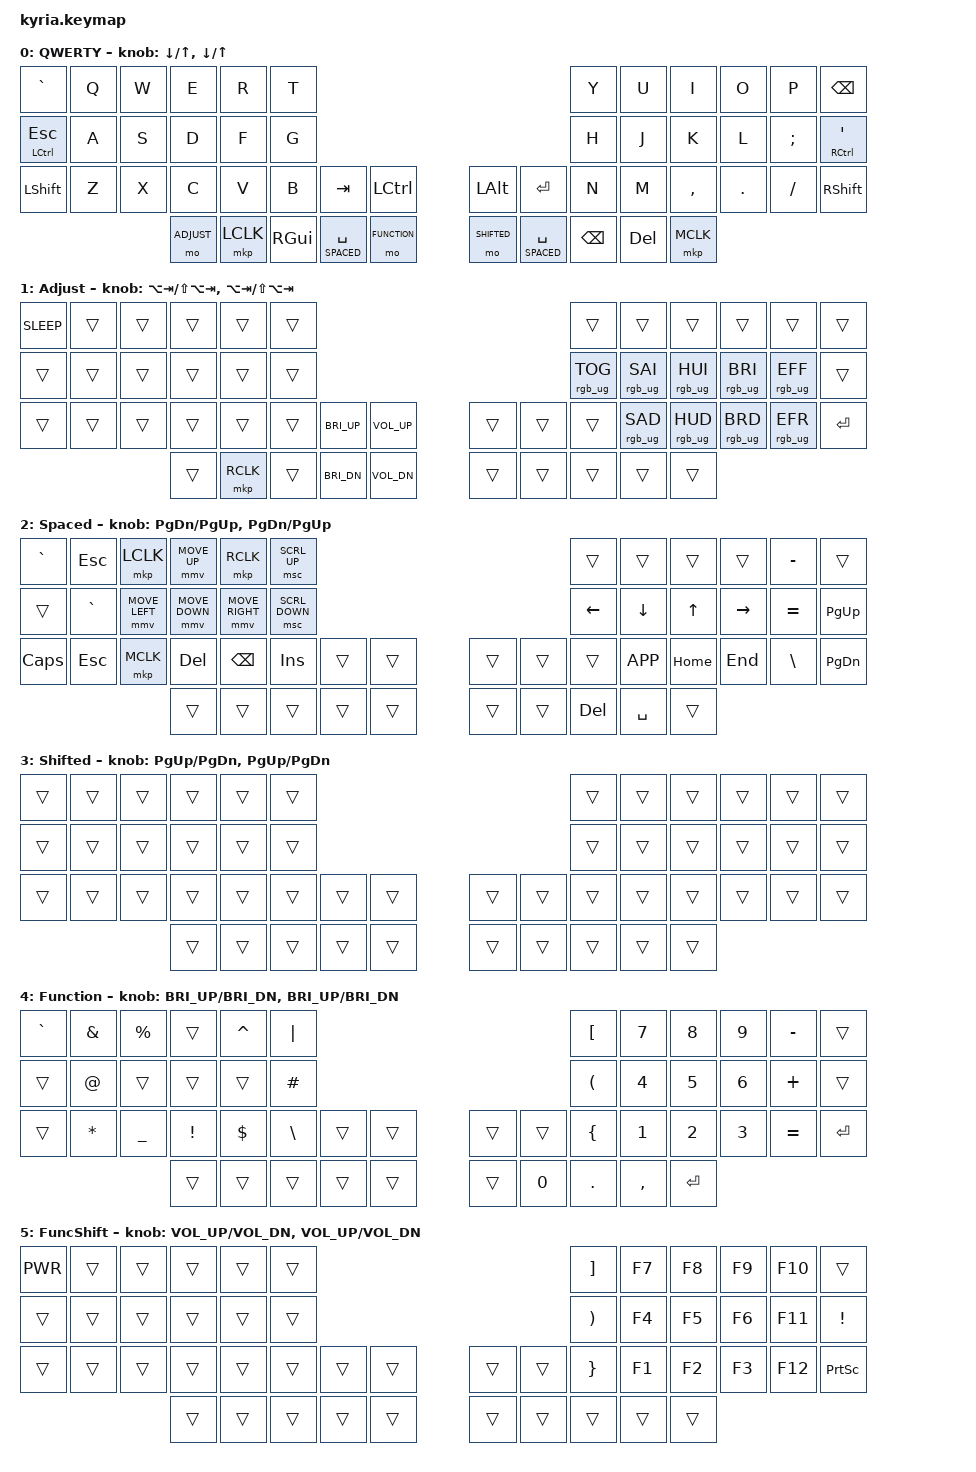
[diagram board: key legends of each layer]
/*
 * ZMK keymap converted from QMK (SplitKB Kyria)
 * Original QMK keymap (c) 2019 Thomas Baart, 2021 the1fof@gmail.com
 *
 * Layer order is preserved from the QMK enum:
 *   0 QWERTY | 1 ADJUST | 2 SPACED | 3 SHIFTED | 4 FUNCTION | 5 FUNCSHIFT
 *
 * Kyria key positions (for reference):
 *   ╭────────────────────────╮                 ╭────────────────────────╮
 *   │  0   1   2   3   4   5 │                 │  6   7   8   9  10  11 │
 *   │ 12  13  14  15  16  17 ╰───────╮ ╭───────╯ 18  19  20  21  22  23 │
 *   │ 24  25  26  27  28  29  30  31 │ │ 32  33  34  35  36  37  38  39 │
 *   ╰───────────╮ 40  41  42  43  44 │ │ 45  46  47  48  49 ╭───────────╯
 */

#include <behaviors.dtsi>
#include <dt-bindings/zmk/keys.h>
#include <dt-bindings/zmk/bt.h>
#include <dt-bindings/zmk/rgb.h>
#include <dt-bindings/zmk/pointing.h>   /* mouse: &mkp &mmv &msc. Older ZMK: <dt-bindings/zmk/mouse.h> */

#define QWERTY    0
#define ADJUST    1
#define SPACED    2
#define SHIFTED   3
#define FUNCTION  4
#define FUNCSHIFT 5

/ {
    /*
     * Tri-layer (QMK update_tri_layer(_FUNCTION, _SHIFTED, _FUNCSHIFT)):
     * holding FUNCTION + SHIFTED together activates FUNCSHIFT.
     */
    conditional_layers {
        compatible = "zmk,conditional-layers";
        funcshift {
            if-layers = <FUNCTION SHIFTED>;
            then-layer = <FUNCSHIFT>;
        };
    };

    behaviors {
        /*
         * OPTIONAL — faithful "SSHFT" replacement.
         * QMK's SSHFT held Left-Shift AND turned on the SHIFTED layer at once.
         * If you want the right thumb to also act as a real Shift, replace
         * `&mo SHIFTED` in the QWERTY thumb row with `&sshft`.
         *
         * CAVEAT: with real Shift held, the FUNCSHIFT F-keys would arrive as
         * Shift+Fn and `]` as `}`. The QMK firmware had special C code to strip
         * that shift back off. If you enable this macro you'd need to re-add that
         * unshifting (mod-morphs). The default below avoids all of that by NOT
         * holding a real modifier — capitals come from the dedicated LSHFT/RSHFT
         * keys that already exist on the bottom row (positions 24 and 39).
         */
        sshft: shifted_layer_with_shift {
            compatible = "zmk,behavior-macro";
            #binding-cells = <0>;
            bindings
                = <&macro_press   &kp LSHFT &mo SHIFTED>
                , <&macro_pause_for_release>
                , <&macro_release &kp LSHFT &mo SHIFTED>;
        };
    };

    keymap {
        compatible = "zmk,keymap";

        qwerty_layer {
            display-name = "QWERTY";
            bindings = <
&kp GRAVE      &kp Q  &kp W  &kp E  &kp R  &kp T                                                  &kp Y     &kp U  &kp I      &kp O    &kp P     &kp BSPC
&mt LCTRL ESC  &kp A  &kp S  &kp D  &kp F  &kp G                                                  &kp H     &kp J  &kp K      &kp L    &kp SEMI  &mt RCTRL SQT
&kp LSHFT      &kp Z  &kp X  &kp C  &kp V  &kp B  &kp TAB  &kp LCTRL        &kp LALT  &kp RET      &kp N     &kp M  &kp COMMA  &kp DOT  &kp FSLH  &kp RSHFT
                          &mo ADJUST  &mkp LCLK  &kp RGUI  &lt SPACED SPACE  &mo FUNCTION    &mo SHIFTED  &lt SPACED SPACE  &kp BSPC  &kp DEL  &mkp MCLK
            >;
            /* QWERTY encoder: CW = Down, CCW = Up (both encoders identical, as in QMK) */
            sensor-bindings = <&inc_dec_kp DOWN UP &inc_dec_kp DOWN UP>;
        };

        adjust_layer {
            display-name = "Adjust";
            bindings = <
&kp K_SLEEP  &trans  &trans  &trans  &trans  &trans                                              &trans          &trans          &trans          &trans          &trans          &trans
&trans       &trans  &trans  &trans  &trans  &trans                                              &rgb_ug RGB_TOG &rgb_ug RGB_SAI &rgb_ug RGB_HUI &rgb_ug RGB_BRI &rgb_ug RGB_EFF &trans
&trans       &trans  &trans  &trans  &trans  &trans  &kp C_BRI_UP  &kp C_VOL_UP    &trans  &trans &trans          &rgb_ug RGB_SAD &rgb_ug RGB_HUD &rgb_ug RGB_BRD &rgb_ug RGB_EFR &kp RET
                                 &trans  &mkp RCLK  &trans  &kp C_BRI_DN  &kp C_VOL_DN     &trans  &trans  &trans  &trans  &trans
            >;
            /* ADJUST encoder: approximate QMK's smart Alt-Tab. CW = Alt+Tab, CCW = Alt+Shift+Tab.
               NOTE: this taps Alt+Tab each detent rather than holding Alt across the gesture. */
            sensor-bindings = <&inc_dec_kp LA(TAB) LS(LA(TAB)) &inc_dec_kp LA(TAB) LS(LA(TAB))>;
        };

        spaced_layer {
            display-name = "Spaced";
            bindings = <
&kp GRAVE  &kp ESC    &mkp LCLK      &mmv MOVE_UP    &mkp RCLK       &msc SCRL_UP                          &trans     &trans     &trans   &trans      &kp MINUS  &trans
&trans     &kp GRAVE  &mmv MOVE_LEFT &mmv MOVE_DOWN  &mmv MOVE_RIGHT &msc SCRL_DOWN                        &kp LEFT   &kp DOWN   &kp UP   &kp RIGHT   &kp EQUAL  &kp PG_UP
&kp CAPS   &kp ESC    &mkp MCLK      &kp DEL         &kp BSPC        &kp INS  &trans  &trans   &trans &trans &trans    &kp K_APP  &kp HOME &kp END     &kp BSLH   &kp PG_DN
                                          &trans  &trans  &trans  &trans  &trans     &trans  &trans  &kp DEL  &kp SPACE  &trans
            >;
            /* SPACED encoder: CW = PageDown, CCW = PageUp */
            sensor-bindings = <&inc_dec_kp PG_DN PG_UP &inc_dec_kp PG_DN PG_UP>;
        };

        shifted_layer {
            display-name = "Shifted";
            /* Transparent in QMK — exists only as the tri-layer companion to FUNCTION. */
            bindings = <
&trans  &trans  &trans  &trans  &trans  &trans                                  &trans  &trans  &trans  &trans  &trans  &trans
&trans  &trans  &trans  &trans  &trans  &trans                                  &trans  &trans  &trans  &trans  &trans  &trans
&trans  &trans  &trans  &trans  &trans  &trans  &trans  &trans   &trans  &trans  &trans  &trans  &trans  &trans  &trans  &trans
                            &trans  &trans  &trans  &trans  &trans   &trans  &trans  &trans  &trans  &trans
            >;
            /* SHIFTED encoder: CW = PageUp, CCW = PageDown */
            sensor-bindings = <&inc_dec_kp PG_UP PG_DN &inc_dec_kp PG_UP PG_DN>;
        };

        function_layer {
            display-name = "Function";
            bindings = <
&kp GRAVE  &kp AMPS   &kp PRCNT  &trans     &kp CARET  &kp PIPE                              &kp LBKT  &kp N7  &kp N8     &kp N9   &kp MINUS  &trans
&trans     &kp AT     &trans     &trans     &trans     &kp HASH                              &kp LPAR  &kp N4  &kp N5     &kp N6   &kp PLUS   &trans
&trans     &kp ASTRK  &kp UNDER  &kp EXCL   &kp DLLR   &kp BSLH  &trans  &trans  &trans &trans &kp LBRC  &kp N1  &kp N2     &kp N3   &kp EQUAL  &kp RET
                                     &trans  &trans  &trans  &trans  &trans      &trans  &kp N0  &kp DOT  &kp COMMA  &kp RET
            >;
            /* FUNCTION encoder: CW = Brightness Up, CCW = Brightness Down */
            sensor-bindings = <&inc_dec_kp C_BRI_UP C_BRI_DN &inc_dec_kp C_BRI_UP C_BRI_DN>;
        };

        funcshift_layer {
            display-name = "FuncShift";
            /* Outputs bound directly (no held shift), so F-keys and `]` are clean. */
            bindings = <
&kp K_PWR  &trans  &trans  &trans  &trans  &trans                              &kp RBKT  &kp F7  &kp F8  &kp F9  &kp F10  &trans
&trans     &trans  &trans  &trans  &trans  &trans                              &kp RPAR  &kp F4  &kp F5  &kp F6  &kp F11  &kp EXCL
&trans     &trans  &trans  &trans  &trans  &trans  &trans  &trans  &trans &trans &kp RBRC  &kp F1  &kp F2  &kp F3  &kp F12  &kp PSCRN
                                  &trans  &trans  &trans  &trans  &trans    &trans  &trans  &trans  &trans  &trans
            >;
            /* FUNCSHIFT encoder: CW = Volume Up, CCW = Volume Down */
            sensor-bindings = <&inc_dec_kp C_VOL_UP C_VOL_DN &inc_dec_kp C_VOL_UP C_VOL_DN>;
        };
    };
};
